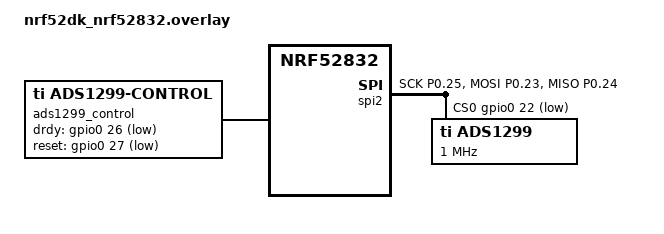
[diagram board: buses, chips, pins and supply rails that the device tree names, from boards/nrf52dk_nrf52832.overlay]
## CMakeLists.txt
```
cmake_minimum_required(VERSION 3.20.0)

find_package(Zephyr REQUIRED HINTS $ENV{ZEPHYR_BASE})
project(nrf54_ads1299_ble)

target_sources(app PRIVATE
  src/main.c
  src/ads1299.c
)
```

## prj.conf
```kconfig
CONFIG_GPIO=y
CONFIG_SPI=y

CONFIG_BT=y
CONFIG_BT_PERIPHERAL=y
CONFIG_BT_DEVICE_NAME="ADS1299_NRF54"
CONFIG_BT_MAX_CONN=1
CONFIG_BT_BUF_ACL_TX_SIZE=251
CONFIG_BT_BUF_ACL_RX_SIZE=251
CONFIG_BT_BUF_ACL_TX_COUNT=10
CONFIG_BT_L2CAP_TX_MTU=247
CONFIG_BT_CONN_TX_MAX=10
CONFIG_BT_CTLR_DATA_LENGTH_MAX=251
CONFIG_BT_PERIPHERAL_PREF_MIN_INT=6
CONFIG_BT_PERIPHERAL_PREF_MAX_INT=12
CONFIG_BT_PERIPHERAL_PREF_LATENCY=0
CONFIG_BT_PERIPHERAL_PREF_TIMEOUT=400

CONFIG_LOG=y
CONFIG_PRINTK=y
CONFIG_MAIN_STACK_SIZE=4096
CONFIG_SYSTEM_WORKQUEUE_STACK_SIZE=2048

# Free the default UART pins so ADS1299 SPI can use the selected P0 pins.
CONFIG_CONSOLE=n
CONFIG_UART_CONSOLE=n
CONFIG_SERIAL=n

# Use J-Link RTT for direct ADS1299/SPI command testing without BLE or UART pins.
CONFIG_USE_SEGGER_RTT=y
CONFIG_LOG_BACKEND_RTT=y
```

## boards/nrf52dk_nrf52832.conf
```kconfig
CONFIG_BT_DEVICE_NAME="ADS1299_NRF52"
# nRF52832 SPIM anomaly 58: protect single-byte command transfers.
CONFIG_SOC_NRF52832_ALLOW_SPIM_DESPITE_PAN_58=y
```

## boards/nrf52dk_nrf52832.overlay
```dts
/* nRF52 DK / PCA10040. START must be low; conversion uses SPI commands. */
#include <zephyr/dt-bindings/pinctrl/nrf-pinctrl.h>

/ {
    ads1299_control: ads1299-control {
        compatible = "ti,ads1299-control";
        cs-gpios = <&gpio0 22 GPIO_ACTIVE_LOW>;
        drdy-gpios = <&gpio0 26 GPIO_ACTIVE_LOW>;
        reset-gpios = <&gpio0 27 GPIO_ACTIVE_LOW>;
    };
};

&uart0 { status = "disabled"; };
&i2c0 { status = "disabled"; };
&i2c1 { status = "disabled"; };
&spi0 { status = "disabled"; };
&spi1 { status = "disabled"; };

&pinctrl {
    spi2_ads1299_default: spi2_ads1299_default {
        group1 {
            psels = <NRF_PSEL(SPIM_SCK, 0, 25)>,
                    <NRF_PSEL(SPIM_MOSI, 0, 23)>,
                    <NRF_PSEL(SPIM_MISO, 0, 24)>;
        };
    };
    spi2_ads1299_sleep: spi2_ads1299_sleep {
        group1 {
            psels = <NRF_PSEL(SPIM_SCK, 0, 25)>,
                    <NRF_PSEL(SPIM_MOSI, 0, 23)>,
                    <NRF_PSEL(SPIM_MISO, 0, 24)>;
            low-power-enable;
        };
    };
};

&spi2 {
    compatible = "nordic,nrf-spim";
    anomaly-58-workaround;
    status = "okay";
    cs-gpios = <&gpio0 22 GPIO_ACTIVE_LOW>;
    pinctrl-0 = <&spi2_ads1299_default>;
    pinctrl-1 = <&spi2_ads1299_sleep>;
    pinctrl-names = "default", "sleep";
    ads1299: ads1299@0 {
        compatible = "ti,ads1299";
        reg = <0>;
        spi-max-frequency = <1000000>;
    };
};
```

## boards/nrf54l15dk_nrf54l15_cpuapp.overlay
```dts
/*
 * ADS1299 evaluation board wiring for nRF54L15 DK.
 *
 * Current signal wiring:
 * ADS1299 J3-3   CLK/SCLK  -> nRF P0.00
 * ADS1299 J3-7   CS        -> nRF P0.03
 * ADS1299 J3-8   RESETB    -> nRF P0.04
 * ADS1299 J3-11  DIN/MOSI  -> nRF P0.01
 * ADS1299 J3-13  DOUT/MISO -> nRF P0.02
 * ADS1299 J3-15  DRDYB     -> nRF P1.11
 * START/STOP use SPI commands; no nRF START GPIO is connected.
 * J3-12 is GPIO2, NOT START. Leave it disconnected.
 * QFN48 exposes P0.00..P0.04 only; unlabelled P0 header pins are not GPIOs.
 *
 * Current power wiring:
 * ADS1299 J4-10  VCC_5V    <- nRF VBUS/5V
 * ADS1299 J4-9   VCC_3.3V  <- nRF VDDIO (verify voltage)
 * ADS1299 J4-5   GND       <- nRF GND
 *
 * Power check:
 * TP7  - TP8 = about 5 V
 * TP10 - TP8 = about 3.3 V
 *
 * Not connected:
 * J3-1, J3-2, J3-4, J3-12, J3-14, J3-16, J3-17, J3-19, J3-20
 *
 * DVDD level must match the nRF GPIO voltage domain.
 */

#include <zephyr/dt-bindings/pinctrl/nrf-pinctrl.h>

/ {
	ads1299_control: ads1299-control {
		compatible = "ti,ads1299-control";
		cs-gpios = <&gpio0 3 GPIO_ACTIVE_LOW>;
		drdy-gpios = <&gpio1 11 GPIO_ACTIVE_LOW>;
		reset-gpios = <&gpio0 4 GPIO_ACTIVE_LOW>;
	};
};

&pinctrl {
	spi21_ads1299_default: spi21_ads1299_default {
		group1 {
			psels = <NRF_PSEL(SPIM_SCK, 0, 0)>,
				<NRF_PSEL(SPIM_MOSI, 0, 1)>,
				<NRF_PSEL(SPIM_MISO, 0, 2)>;
		};
	};

	spi21_ads1299_sleep: spi21_ads1299_sleep {
		group1 {
			psels = <NRF_PSEL(SPIM_SCK, 0, 0)>,
				<NRF_PSEL(SPIM_MOSI, 0, 1)>,
				<NRF_PSEL(SPIM_MISO, 0, 2)>;
			low-power-enable;
		};
	};
};

&spi21 {
	compatible = "nordic,nrf-spim";
	status = "okay";
	cs-gpios = <&gpio0 3 GPIO_ACTIVE_LOW>;
	pinctrl-0 = <&spi21_ads1299_default>;
	pinctrl-1 = <&spi21_ads1299_sleep>;
	pinctrl-names = "default", "sleep";

	ads1299: ads1299@0 {
		compatible = "ti,ads1299";
		reg = <0>;
		spi-max-frequency = <125000>;
	};
};
```

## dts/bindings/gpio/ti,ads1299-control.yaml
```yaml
description: Control GPIOs for TI ADS1299 EEG analog front-end

compatible: "ti,ads1299-control"

properties:
  cs-gpios:
    type: phandle-array
    required: true
    description: ADS1299 chip-select output, active low

  drdy-gpios:
    type: phandle-array
    required: true
    description: ADS1299 DRDY input, active low

  reset-gpios:
    type: phandle-array
    required: true
    description: ADS1299 RESET output, active low
```

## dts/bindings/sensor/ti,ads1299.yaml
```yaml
description: TI ADS1299 EEG analog front-end on SPI

compatible: "ti,ads1299"

include: spi-device.yaml
```

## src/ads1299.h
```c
#ifndef ADS1299_H
#define ADS1299_H

#include <stdbool.h>
#include <stddef.h>
#include <stdint.h>

#define ADS1299_CHANNEL_COUNT 8

enum ads1299_input_mux {
	ADS1299_MUX_NORMAL = 0,
	ADS1299_MUX_SHORTED = 1,
	ADS1299_MUX_BIAS_MEAS = 2,
	ADS1299_MUX_MVDD = 3,
	ADS1299_MUX_TEMP = 4,
	ADS1299_MUX_TEST = 5,
	ADS1299_MUX_BIAS_DRP = 6,
	ADS1299_MUX_BIAS_DRN = 7,
};

enum ads1299_reference_mode {
	ADS1299_REF_DIFFERENTIAL = 0,
	ADS1299_REF_SRB1,
	ADS1299_REF_SRB2_COMMON,
	ADS1299_REF_SRB2_TO_SRB1,
};

enum ads1299_test_frequency {
	ADS1299_TEST_FREQ_SLOW = 0,
	ADS1299_TEST_FREQ_FAST = 1,
	ADS1299_TEST_FREQ_DC = 3,
};

struct ads1299_sample {
	uint64_t t_us;
	int32_t channel[ADS1299_CHANNEL_COUNT];
};

struct ads1299_config {
	uint16_t sample_rate_sps;
	uint8_t gain;
	bool bias_enabled;
	bool lead_off_enabled;
	bool test_signal_enabled;
	bool test_signal_amplitude_2x;
	enum ads1299_test_frequency test_signal_frequency;
	uint8_t test_channel_mask;
	uint8_t enabled_channel_mask;
	enum ads1299_input_mux input_mux;
	enum ads1299_reference_mode reference_mode;
	uint8_t reference_channel;
	bool internal_reference;
	bool internal_bias_reference;
	uint8_t bias_sensp_mask;
	uint8_t bias_sensn_mask;
};

int ads1299_init_device(void);
int ads1299_start_stream(void);
int ads1299_stop_stream(void);
bool ads1299_is_streaming(void);
int ads1299_read_id(uint8_t *id);
int ads1299_spi_loopback(uint8_t rx[3]);
int ads1299_set_spi_mode(uint8_t mode);
int ads1299_probe_id_modes(char *response, size_t response_len);
int ads1299_probe_after_reset(char *response, size_t response_len);
int ads1299_gpio_status(char *response, size_t response_len);
int ads1299_miso_gpio_probe(char *response, size_t response_len);
int ads1299_miso_cs_low_probe(char *response, size_t response_len);
int ads1299_bitbang_probe_id_modes(char *response, size_t response_len);
int ads1299_read_register(uint8_t reg, uint8_t *value);
int ads1299_write_register(uint8_t reg, uint8_t value);
int ads1299_apply_config(const struct ads1299_config *config);
int ads1299_read_sample(struct ads1299_sample *sample);
int ads1299_data_diagnostic(char *response, size_t response_len);

#endif
```
